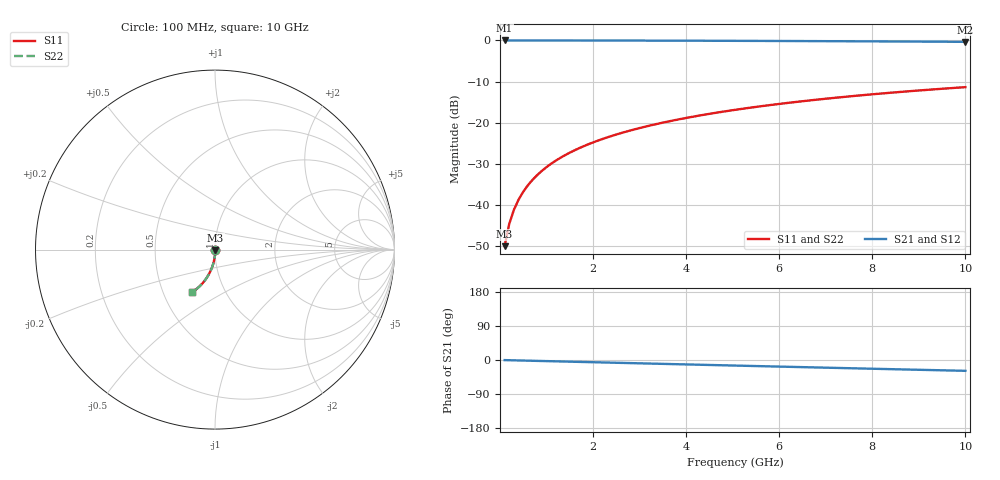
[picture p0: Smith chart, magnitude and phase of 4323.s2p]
# Hz S RI R 50.00
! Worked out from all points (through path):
!   100 points, 100 MHz to 10 GHz, reference 50 ohm
!   highest |S21| = -0.01 dB at 100 MHz (marker M1); lowest = -0.3 dB at 10 GHz (marker M2)
!   group delay of S21, straight-line fit = 7.95 ps
!   lowest |S11| = -50.0 dB at 100 MHz (marker M3), VSWR 1.01, Z = 50.1 - j0.29 ohm
!   |S11| at or under -10 dB: start of sweep to end of sweep
!   |S22| runs from -50.0 to -11.4 dB; largest |S21 - S12| = 0
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1e8  0.00127 -0.00289  0.9987 -0.0051  0.9987 -0.0051  0.00127 -0.00289
2e8  0.00123 -0.00579  0.9986 -0.0102  0.9986 -0.0102  0.00123 -0.00579
3e8  0.00116 -0.00868  0.9985 -0.0153  0.9985 -0.0153  0.00116 -0.00868
4e8  0.00106 -0.0116  0.9984 -0.0204  0.9984 -0.0204  0.00106 -0.0116
5e8  0.000929 -0.0145  0.9982 -0.0255  0.9982 -0.0255  0.000929 -0.0145
6e8  0.000767 -0.0173  0.998 -0.0306  0.998 -0.0306  0.000767 -0.0173
7e8  0.000576 -0.0202  0.9978 -0.0357  0.9978 -0.0357  0.000576 -0.0202
8e8  0.000354 -0.0231  0.9975 -0.0408  0.9975 -0.0408  0.000354 -0.0231
9e8  0.000103 -0.026  0.9972 -0.0458  0.9972 -0.0458  0.000103 -0.026
1.1e9  -0.000487 -0.0317  0.9965 -0.056  0.9965 -0.056  -0.000487 -0.0317
1.4e9  -0.00159 -0.0403  0.9952 -0.0712  0.9952 -0.0712  -0.00159 -0.0403
1.8e9  -0.00347 -0.0517  0.993 -0.0914  0.993 -0.0914  -0.00347 -0.0517
2.1e9  -0.00519 -0.0602  0.991 -0.1065  0.991 -0.1065  -0.00519 -0.0602
2.5e9  -0.00787 -0.0714  0.9879 -0.1266  0.9879 -0.1266  -0.00787 -0.0714
2.9e9  -0.011 -0.0825  0.9842 -0.1465  0.9842 -0.1465  -0.011 -0.0825
3.4e9  -0.0155 -0.0961  0.9789 -0.1712  0.9789 -0.1712  -0.0155 -0.0961
4.2e9  -0.0242 -0.1173  0.9687 -0.21  0.9687 -0.21  -0.0242 -0.1173
5.1e9  -0.0358 -0.1402  0.9549 -0.2528  0.9549 -0.2528  -0.0358 -0.1402
5.9e9  -0.0478 -0.1594  0.9408 -0.2897  0.9408 -0.2897  -0.0478 -0.1594
6.7e9  -0.0612 -0.1775  0.9249 -0.3255  0.9249 -0.3255  -0.0612 -0.1775
8.4e9  -0.0937 -0.2116  0.8859 -0.3974  0.8859 -0.3974  -0.0937 -0.2116
1e10  -0.1283 -0.238  0.8437 -0.4595  0.8437 -0.4595  -0.1283 -0.238
